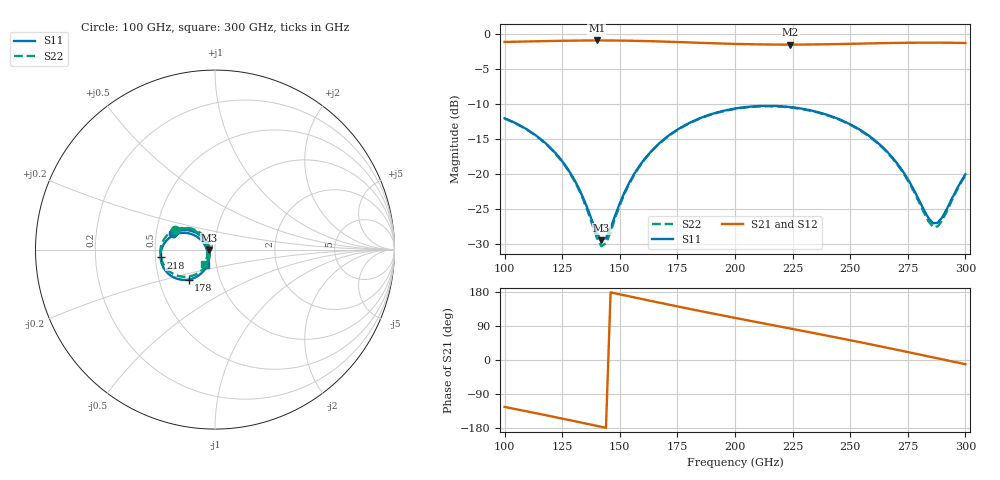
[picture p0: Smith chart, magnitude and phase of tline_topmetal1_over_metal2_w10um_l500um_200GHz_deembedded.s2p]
! Created with skrf 2.0.1 (http://scikit-rf.org).
# GHz S DB R 50.0
!freq dBS11 angS11 dBS21 angS21 dBS12 angS12 dBS22 angS22
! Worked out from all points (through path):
!   101 points, 100 GHz to 300 GHz, reference 50 ohm
!   highest |S21| = -0.88 dB at 140 GHz (marker M1); lowest = -1.5 dB at 224 GHz (marker M2)
!   group delay of S21, straight-line fit = 3.41 ps
!   lowest |S11| = -29.5 dB at 142 GHz (marker M3), VSWR 1.07, Z = 46.8 - j0.208 ohm
!   |S11| at or under -10 dB: start of sweep to end of sweep
!   |S22| runs from -30.3 to -10.3 dB; largest |S21 - S12| = 1e-14
!   S11 on the Smith chart (normalised r, x): 100 GHz: 0.61, +0.12; 178 GHz: 0.71, -0.25; 218 GHz: 0.53, -0.05; 300 GHz: 0.90, -0.16
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100  -12.02 158.4  -1.09 -123.9  -1.09 -123.9  -12.07 154.5
110  -13.67 148.3  -1.03 -136.0  -1.03 -136.0  -13.73 144.0
120  -16.28 139.7  -0.96 -148.3  -0.96 -148.3  -16.36 134.7
128  -19.57 136.0  -0.91 -158.4  -0.91 -158.4  -19.69 130.3
134  -23.33 139.5  -0.89 -166.1  -0.89 -166.1  -23.55 132.9
140  -28.45 164.6  -0.88 -173.8  -0.88 -173.8  -29.11 157.8
142  -29.49 -176.2  -0.88 -176.4  -0.88 -176.4  -30.33 178.5
144  -29.17 -155.1  -0.88 -179.0  -0.88 -179.0  -29.93 -158.2
150  -24.19 -122.0  -0.90 173.3  -0.90 173.3  -24.44 -124.6
156  -20.13 -116.4  -0.93 165.5  -0.93 165.5  -20.25 -120.0
168  -15.35 -122.3  -1.03 150.2  -1.03 150.2  -15.42 -127.0
178  -13.07 -131.3  -1.14 137.7  -1.14 137.7  -13.12 -136.7
200  -10.63 -153.5  -1.37 111.2  -1.37 111.2  -10.68 -159.9
218  -10.27 -171.8  -1.47 90.1  -1.47 90.1  -10.33 -179.0
224  -10.42 -177.8  -1.48 83.0  -1.48 83.0  -10.48 174.7
234  -10.98 172.2  -1.45 71.3  -1.45 71.3  -11.04 164.4
254  -13.62 153.6  -1.34 47.3  -1.34 47.3  -13.69 144.8
268  -17.52 144.8  -1.25 29.8  -1.25 29.8  -17.63 135.1
274  -20.20 145.3  -1.22 22.2  -1.22 22.2  -20.35 135.1
286  -27.04 -173.3  -1.20 6.9  -1.20 6.9  -27.57 177.0
290  -26.18 -144.2  -1.20 1.7  -1.20 1.7  -26.61 -152.3
300  -20.05 -118.4  -1.24 -11.1  -1.24 -11.1  -20.18 -127.1
